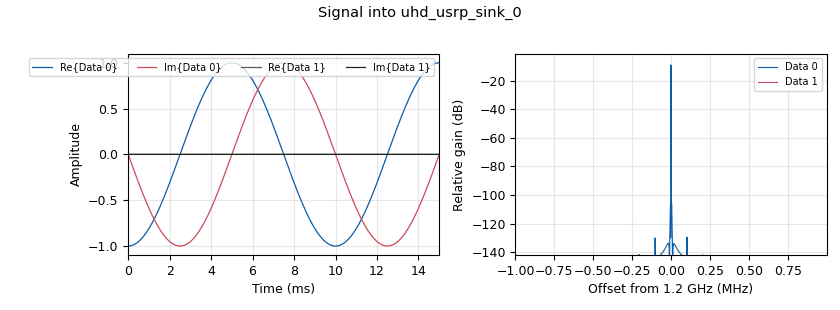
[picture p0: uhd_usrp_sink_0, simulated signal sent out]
options:
  parameters:
    author: arode
    generate_options: qt_gui
    id: loopback_test
    output_language: python
    title: Loopback test
  states: {}

blocks:
- name: center_freq
  id: variable_qtgui_range
  parameters:
    orient: Qt.Horizontal
    start: 100e3
    step: 100e3
    stop: 6e9
    value: 1.2e9
  states: {}
- name: samp_rate
  id: variable
  parameters:
    value: 2e6
  states: {}
- name: tone_freq
  id: variable_qtgui_range
  parameters:
    orient: Qt.Horizontal
    start: '0'
    step: '1'
    stop: '1000000'
    value: '100'
  states: {}
- name: analog_sig_source_x_0
  id: analog_sig_source_x
  parameters:
    amp: '1'
    freq: tone_freq
    offset: '0'
    phase: '0'
    samp_rate: samp_rate
    type: complex
    waveform: analog.GR_SIN_WAVE
  states: {}
- name: blocks_null_sink_0
  id: blocks_null_sink
  parameters:
    type: complex
  states: {}
- name: blocks_null_source_0
  id: blocks_null_source
  parameters:
    type: complex
  states: {}
- name: qtgui_freq_sink_x_0
  id: qtgui_freq_sink_x
  parameters:
    bw: samp_rate
    fc: center_freq
    fftsize: '8192'
    type: complex
    wintype: firdes.WIN_BLACKMAN_hARRIS
  states: {}
- name: uhd_usrp_sink_0
  id: uhd_usrp_sink
  parameters:
    ant0: TX/RX
    ant1: TX/RX
    center_freq0: center_freq
    center_freq1: center_freq
    dev_addr: '"addr=192.168.30.2,second_addr=192.168.40.2"'
    dev_args: '""'
    gain0: '0'
    gain1: '0'
    len_tag_name: ''
    nchan: '2'
    norm_gain0: 'False'
    norm_gain1: 'False'
    samp_rate: samp_rate
    sync: sync
    type: fc32
  states: {}
- name: uhd_usrp_source_0
  id: uhd_usrp_source
  parameters:
    ant0: RX2
    ant1: RX2
    center_freq0: center_freq
    center_freq1: center_freq
    dc_offs_enb0: '"1"'
    dc_offs_enb1: '"1"'
    dev_addr: '"addr=192.168.30.2,second_addr=192.168.40.2"'
    dev_args: '""'
    gain0: '0'
    gain1: '0'
    iq_imbal_enb0: '"1"'
    iq_imbal_enb1: '"1"'
    nchan: '2'
    norm_gain0: 'False'
    norm_gain1: 'False'
    samp_rate: samp_rate
    sync: sync
    type: fc32
  states: {}

connections:
- [analog_sig_source_x_0, '0', uhd_usrp_sink_0, '0']
- [blocks_null_source_0, '0', uhd_usrp_sink_0, '1']
- [uhd_usrp_source_0, '0', blocks_null_sink_0, '0']
- [uhd_usrp_source_0, '1', qtgui_freq_sink_x_0, '0']

metadata:
  file_format: 1
